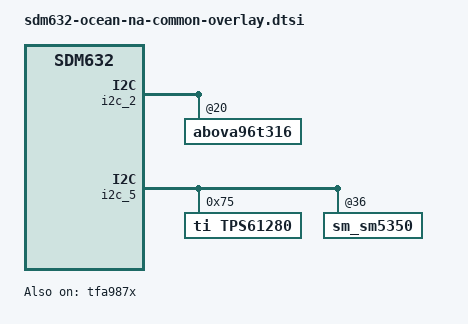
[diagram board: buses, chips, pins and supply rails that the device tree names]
/*
 * Copyright (c) 2018, The Linux Foundation. All rights reserved.
 *
 * This program is free software; you can redistribute it and/or modify
 * it under the terms of the GNU General Public License version 2 and
 * only version 2 as published by the Free Software Foundation.
 *
 * This program is distributed in the hope that it will be useful,
 * but WITHOUT ANY WARRANTY; without even the implied warranty of
 * MERCHANTABILITY or FITNESS FOR A PARTICULAR PURPOSE.  See the
 * GNU General Public License for more details.
 */

&i2c_2 {
	status = "ok";
	abova96t316@20 {
		reg_array_val = <0x07 0x00 0x08 0x97 0xFB 0x01>;
	};
};

&i2c_5 {
	status = "okay";
	tps61280@75 {
		compatible = "ti,tps61280";
		reg = <0x75>;
		ti,config = <0x0D>;
		ti,vout-floor = <0x0D>;
		ti,vout-roof = <0x19>;
		ti,ilim = <0x0F>;
		pinctrl-names = "default";
		pinctrl-0 = <&tps61280_en_default>;
	};

	sm_sm5350@36 {
		boost-ctl = <0x02>;
	};
};

&soc {
	sound {
		qcom,model = "msm8953_snd_card-tfa987x";
		qcom,msm-ext-pa = "quinary";
		nxp,have-tfa987x;
	};
};

&tfa987x {
        status = "ok";
};
